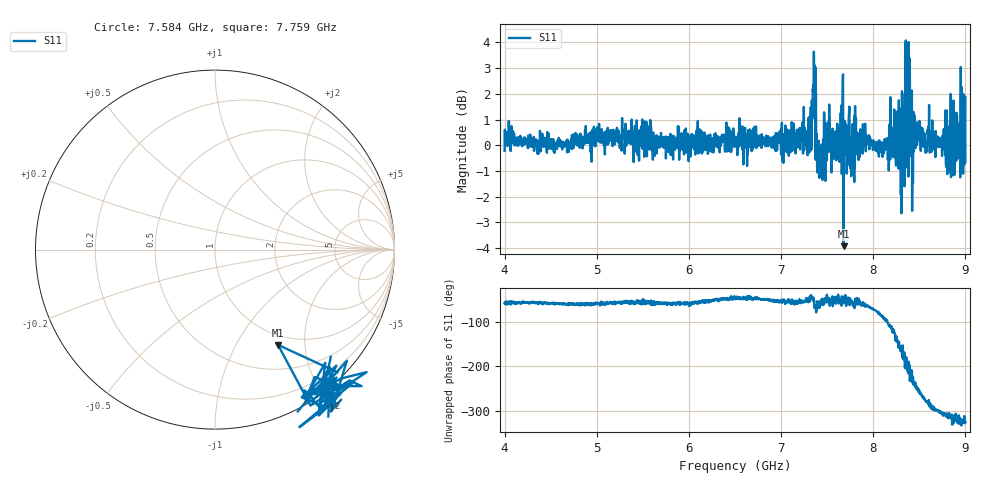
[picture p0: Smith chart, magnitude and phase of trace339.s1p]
! Created with skrf 1.8.0 (http://scikit-rf.org).
# Hz S RI R 50.0
!freq ReS11 ImS11
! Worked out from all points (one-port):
!   1601 points, 4 GHz to 9 GHz, reference 50 ohm
!   lowest |S11| = -3.9 dB at 7.678 GHz (marker M1), VSWR 4.50, Z = 42.3 - j75.5 ohm
!   |S11| at or under -10 dB: nowhere
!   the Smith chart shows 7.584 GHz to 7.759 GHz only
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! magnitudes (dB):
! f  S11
! 4 GHz  -0.2
! 4.066 GHz  -0.2
! 4.625 GHz  -0.2
! 5.25 GHz  -0.1
! 5.875 GHz  0.2
! 6.5 GHz  0.2
! 7.125 GHz  0.5
! 7.306 GHz  0.1
! 7.347 GHz  2.1
! 7.369 GHz  1.9
! 7.4 GHz  0.1
! 7.428 GHz  -0.5
! 7.509 GHz  0.9
! 7.572 GHz  -0.3
! 7.619 GHz  0.7
! 7.647 GHz  1.3
! 7.678 GHz  -3.9
! 7.75 GHz  0.3
! 8.097 GHz  0.1
! 8.262 GHz  -0.4
! 8.316 GHz  0.9
! 8.334 GHz  1.5
! 8.375 GHz  1.2
! 8.447 GHz  1.1
! 8.459 GHz  -0.1
! 8.869 GHz  -0.1
! 8.972 GHz  0.7
! 9 GHz  -0.6
